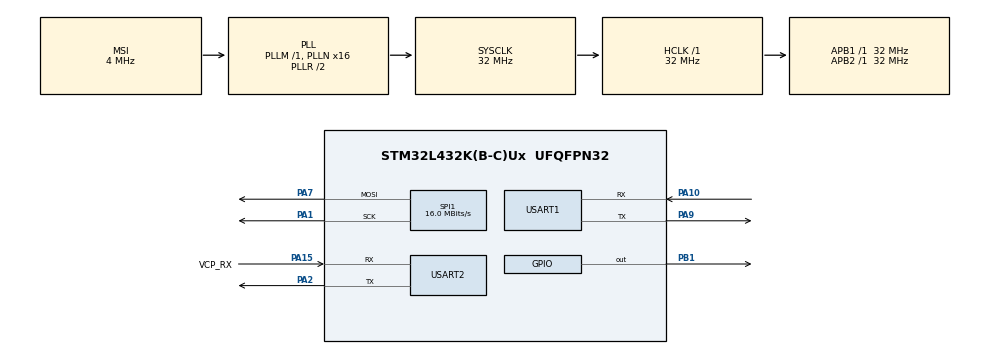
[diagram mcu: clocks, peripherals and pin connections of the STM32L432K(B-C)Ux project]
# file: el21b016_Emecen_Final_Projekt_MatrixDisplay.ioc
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FREERTOS.Queues01=uartQueue,16,int,0,Dynamic,NULL,NULL
FREERTOS.Tasks01=showNumber,24,128,showNumberStart,Default,NULL,Dynamic,NULL,NULL;receiveUART_tsk,25,128,receiveUARTstart,Default,NULL,Dynamic,NULL,NULL
FREERTOS.configUSE_NEWLIB_REENTRANT=1
Mcu.Family=STM32L4
Mcu.Name=STM32L432K(B-C)Ux
Mcu.Package=UFQFPN32
NVIC.PriorityGroup=NVIC_PRIORITYGROUP_4
NVIC.TIM6_DAC_IRQn=true\:15\:0\:false\:false\:true\:false\:false\:true\:true
NVIC.TimeBase=TIM6_DAC_IRQn
NVIC.TimeBaseIP=TIM6
NVIC.USART1_IRQn=true\:5\:0\:false\:false\:true\:true\:true\:true\:true
PA0.GPIO_Label=MCO [High speed clock in]
PA0.Mode=HSE-External-Clock-Source-for-LittleOrca
PA0.Signal=RCC_CK_IN
PA1.Mode=TX_Only_Simplex_Unidirect_Master
PA1.Signal=SPI1_SCK
PA10.Mode=Asynchronous
PA10.Signal=USART1_RX
PA13\ (JTMS-SWDIO).GPIO_Label=SWDIO
PA13\ (JTMS-SWDIO).Mode=Serial_Wire
PA13\ (JTMS-SWDIO).Signal=SYS_JTMS-SWDIO
PA14\ (JTCK-SWCLK).GPIO_Label=SWCLK
PA14\ (JTCK-SWCLK).Mode=Serial_Wire
PA14\ (JTCK-SWCLK).Signal=SYS_JTCK-SWCLK
PA15\ (JTDI).GPIO_Label=VCP_RX
PA15\ (JTDI).Mode=Asynchronous
PA15\ (JTDI).Signal=USART2_RX
PA2.Mode=Asynchronous
PA2.Signal=USART2_TX
PA7.Mode=TX_Only_Simplex_Unidirect_Master
PA7.Signal=SPI1_MOSI
PA9.Mode=Asynchronous
PA9.Signal=USART1_TX
PB1.Signal=GPIO_Output
PC14-OSC32_IN\ (PC14).Mode=LSE-External-Oscillator
PC14-OSC32_IN\ (PC14).Signal=RCC_OSC32_IN
PC15-OSC32_OUT\ (PC15).Mode=LSE-External-Oscillator
PC15-OSC32_OUT\ (PC15).Signal=RCC_OSC32_OUT
ProjectManager.HeapSize=0x200
ProjectManager.StackSize=0x400
ProjectManager.TargetToolchain=STM32CubeIDE
RCC.AHBFreq_Value=32000000
RCC.APB1Freq_Value=32000000
RCC.APB1TimFreq_Value=32000000
RCC.APB2Freq_Value=32000000
RCC.APB2TimFreq_Value=32000000
RCC.CortexFreq_Value=32000000
RCC.HCLKFreq_Value=32000000
RCC.HSE_VALUE=8000000
RCC.HSI16_VALUE=16000000
RCC.HSI48_VALUE=48000000
RCC.HSI_VALUE=16000000
RCC.MSI_VALUE=4000000
RCC.PLLMUL=RCC_PLLMUL_4
RCC.PLLN=16
RCC.SYSCLKFreq_VALUE=32000000
RCC.SYSCLKSource=RCC_SYSCLKSOURCE_PLLCLK
RCC.VCOOutputFreq_Value=64000000
SPI1.CalculateBaudRate=16.0 MBits/s
SPI1.DataSize=SPI_DATASIZE_8BIT
SPI1.Direction=SPI_DIRECTION_2LINES
SPI1.Mode=SPI_MODE_MASTER
SPI1.VirtualType=VM_MASTER
USART1.VirtualMode-Asynchronous=VM_ASYNC
USART2.VirtualMode-Asynchronous=VM_ASYNC
VP_FREERTOS_VS_CMSIS_V2.Mode=CMSIS_V2
VP_SYS_VS_tim6.Mode=TIM6
board=NUCLEO-L432KC

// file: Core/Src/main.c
/* USER CODE BEGIN Header */
/**
  ******************************************************************************
  * @file           : main.c
  * @brief          : Main program body
  ******************************************************************************
  * @attention
  *
  * Copyright (c) 2023 STMicroelectronics.
  * All rights reserved.
  *
  * This software is licensed under terms that can be found in the LICENSE file
  * in the root directory of this software component.
  * If no LICENSE file comes with this software, it is provided AS-IS.
  *
  ******************************************************************************
  */
/* USER CODE END Header */
#include "main.h"
#include "cmsis_os.h"

/* USER CODE BEGIN Includes */
#include "LED_Controller.h"
#include "string.h"
#include "uart_send_app.h"
#include "conversions.h"
#include "uart_read_app.h"
#include "stdio.h"
/* USER CODE END Includes */

/* USER CODE BEGIN PD */
#define MAX_BUFFER_SIZE 100
/* USER CODE END PD */

SPI_HandleTypeDef hspi1;

UART_HandleTypeDef huart1;
UART_HandleTypeDef huart2;

/* Definitions for showNumber */
osThreadId_t showNumberHandle;
const osThreadAttr_t showNumber_attributes = {
  .name = "showNumber",
  .stack_size = 128 * 4,
  .priority = (osPriority_t) osPriorityNormal,
};
/* Definitions for receiveUART_tsk */
osThreadId_t receiveUART_tskHandle;
const osThreadAttr_t receiveUART_tsk_attributes = {
  .name = "receiveUART_tsk",
  .stack_size = 128 * 4,
  .priority = (osPriority_t) osPriorityNormal1,
};
/* Definitions for uartQueue */
osMessageQueueId_t uartQueueHandle;
const osMessageQueueAttr_t uartQueue_attributes = {
  .name = "uartQueue"
};
/* USER CODE BEGIN PV */

uint8_t rx_buffer[MAX_BUFFER_SIZE] = {0};
uint8_t tx_buffer[MAX_BUFFER_SIZE] = {0};
uint8_t cmd[4] ="AT\r\n";
uint8_t buffer[MAX_BUFFER_SIZE] = {0}; //da kann ich auslesen!

char rx_buffer_2[20];

uint8_t tx_data[2];

/* USER CODE END PV */

void SystemClock_Config(void);
static void MX_GPIO_Init(void);
static void MX_USART1_UART_Init(void);
static void MX_SPI1_Init(void);
static void MX_USART2_UART_Init(void);
void showNumberStart(void *argument);
void receiveUARTstart(void *argument);

int main(void)
{
  /* USER CODE BEGIN 1 */
  //set_led (7,128);
  /* USER CODE END 1 */

  /* MCU Configuration--------------------------------------------------------*/

  /* Reset of all peripherals, Initializes the Flash interface and the Systick. */
  HAL_Init();

  /* Configure the system clock */
  SystemClock_Config();

  /* Initialize all configured peripherals */
  MX_GPIO_Init();
  MX_USART1_UART_Init();
  MX_SPI1_Init();
  MX_USART2_UART_Init();
  /* USER CODE BEGIN 2 */

  //set_modes_from_datasheet_MATRIX();
  set_modes_from_datasheet_MATRIX();

  //set_degree_symbol();

  for (int i = 1; i <= 8; i++)
  	{
	  	  tx_data[0] = i;
	 	  tx_data[1] = 0x00;

	  HAL_GPIO_WritePin(GPIOA, GPIO_PIN_7, 0);
	  HAL_GPIO_WritePin(GPIOB, GPIO_PIN_1, 0);
	  HAL_Delay(1);

	  HAL_SPI_Transmit(&hspi1, tx_data, 2, 2);

	  HAL_GPIO_WritePin(GPIOB, GPIO_PIN_1, 1);
	  HAL_GPIO_WritePin(GPIOA, GPIO_PIN_7, 1);
  	}

  /* USER CODE END 2 */

  /* Init scheduler */
  osKernelInitialize();

  /* Create the queue(s) */
  /* creation of uartQueue */
  uartQueueHandle = osMessageQueueNew (32, sizeof(int), &uartQueue_attributes);

  /* Create the thread(s) */
  /* creation of showNumber */
  showNumberHandle = osThreadNew(showNumberStart, NULL, &showNumber_attributes);

  /* creation of receiveUART_tsk */
  receiveUART_tskHandle = osThreadNew(receiveUARTstart, NULL, &receiveUART_tsk_attributes);

  /* Start scheduler */
  osKernelStart();

  /* We should never get here as control is now taken by the scheduler */
  /* Infinite loop */
  while (1)
  {

  }
}

void SystemClock_Config(void)
{
  RCC_OscInitTypeDef RCC_OscInitStruct = {0};
  RCC_ClkInitTypeDef RCC_ClkInitStruct = {0};

  /** Configure the main internal regulator output voltage
  */
  if (HAL_PWREx_ControlVoltageScaling(PWR_REGULATOR_VOLTAGE_SCALE1) != HAL_OK)
  {
    Error_Handler();
  }

  /** Configure LSE Drive Capability
  */
  HAL_PWR_EnableBkUpAccess();
  __HAL_RCC_LSEDRIVE_CONFIG(RCC_LSEDRIVE_LOW);

  /** Initializes the RCC Oscillators according to the specified parameters
  * in the RCC_OscInitTypeDef structure.
  */
  RCC_OscInitStruct.OscillatorType = RCC_OSCILLATORTYPE_LSE|RCC_OSCILLATORTYPE_MSI;
  RCC_OscInitStruct.LSEState = RCC_LSE_ON;
  RCC_OscInitStruct.MSIState = RCC_MSI_ON;
  RCC_OscInitStruct.MSICalibrationValue = 0;
  RCC_OscInitStruct.MSIClockRange = RCC_MSIRANGE_6;
  RCC_OscInitStruct.PLL.PLLState = RCC_PLL_ON;
  RCC_OscInitStruct.PLL.PLLSource = RCC_PLLSOURCE_MSI;
  RCC_OscInitStruct.PLL.PLLM = 1;
  RCC_OscInitStruct.PLL.PLLN = 16;
  RCC_OscInitStruct.PLL.PLLP = RCC_PLLP_DIV7;
  RCC_OscInitStruct.PLL.PLLQ = RCC_PLLQ_DIV2;
  RCC_OscInitStruct.PLL.PLLR = RCC_PLLR_DIV2;
  if (HAL_RCC_OscConfig(&RCC_OscInitStruct) != HAL_OK)
  {
    Error_Handler();
  }

  /** Initializes the CPU, AHB and APB buses clocks
  */
  RCC_ClkInitStruct.ClockType = RCC_CLOCKTYPE_HCLK|RCC_CLOCKTYPE_SYSCLK
                              |RCC_CLOCKTYPE_PCLK1|RCC_CLOCKTYPE_PCLK2;
  RCC_ClkInitStruct.SYSCLKSource = RCC_SYSCLKSOURCE_PLLCLK;
  RCC_ClkInitStruct.AHBCLKDivider = RCC_SYSCLK_DIV1;
  RCC_ClkInitStruct.APB1CLKDivider = RCC_HCLK_DIV1;
  RCC_ClkInitStruct.APB2CLKDivider = RCC_HCLK_DIV1;

  if (HAL_RCC_ClockConfig(&RCC_ClkInitStruct, FLASH_LATENCY_1) != HAL_OK)
  {
    Error_Handler();
  }

  /** Enable MSI Auto calibration
  */
  HAL_RCCEx_EnableMSIPLLMode();
}

static void MX_SPI1_Init(void)
{

  /* SPI1 parameter configuration*/
  hspi1.Instance = SPI1;
  hspi1.Init.Mode = SPI_MODE_MASTER;
  hspi1.Init.Direction = SPI_DIRECTION_2LINES;
  hspi1.Init.DataSize = SPI_DATASIZE_8BIT;
  hspi1.Init.CLKPolarity = SPI_POLARITY_LOW;
  hspi1.Init.CLKPhase = SPI_PHASE_1EDGE;
  hspi1.Init.NSS = SPI_NSS_SOFT;
  hspi1.Init.BaudRatePrescaler = SPI_BAUDRATEPRESCALER_2;
  hspi1.Init.FirstBit = SPI_FIRSTBIT_MSB;
  hspi1.Init.TIMode = SPI_TIMODE_DISABLE;
  hspi1.Init.CRCCalculation = SPI_CRCCALCULATION_DISABLE;
  hspi1.Init.CRCPolynomial = 7;
  hspi1.Init.CRCLength = SPI_CRC_LENGTH_DATASIZE;
  hspi1.Init.NSSPMode = SPI_NSS_PULSE_ENABLE;
  if (HAL_SPI_Init(&hspi1) != HAL_OK)
  {
    Error_Handler();
  }

}

static void MX_USART1_UART_Init(void)
{

  huart1.Instance = USART1;
  huart1.Init.BaudRate = 115200;
  huart1.Init.WordLength = UART_WORDLENGTH_8B;
  huart1.Init.StopBits = UART_STOPBITS_1;
  huart1.Init.Parity = UART_PARITY_NONE;
  huart1.Init.Mode = UART_MODE_TX_RX;
  huart1.Init.HwFlowCtl = UART_HWCONTROL_NONE;
  huart1.Init.OverSampling = UART_OVERSAMPLING_16;
  huart1.Init.OneBitSampling = UART_ONE_BIT_SAMPLE_DISABLE;
  huart1.AdvancedInit.AdvFeatureInit = UART_ADVFEATURE_NO_INIT;
  if (HAL_UART_Init(&huart1) != HAL_OK)
  {
    Error_Handler();
  }

}

static void MX_USART2_UART_Init(void)
{

  huart2.Instance = USART2;
  huart2.Init.BaudRate = 115200;
  huart2.Init.WordLength = UART_WORDLENGTH_8B;
  huart2.Init.StopBits = UART_STOPBITS_1;
  huart2.Init.Parity = UART_PARITY_NONE;
  huart2.Init.Mode = UART_MODE_TX_RX;
  huart2.Init.HwFlowCtl = UART_HWCONTROL_NONE;
  huart2.Init.OverSampling = UART_OVERSAMPLING_16;
  huart2.Init.OneBitSampling = UART_ONE_BIT_SAMPLE_DISABLE;
  huart2.AdvancedInit.AdvFeatureInit = UART_ADVFEATURE_NO_INIT;
  if (HAL_UART_Init(&huart2) != HAL_OK)
  {
    Error_Handler();
  }

}

static void MX_GPIO_Init(void)
{
  GPIO_InitTypeDef GPIO_InitStruct = {0};

  /* GPIO Ports Clock Enable */
  __HAL_RCC_GPIOC_CLK_ENABLE();
  __HAL_RCC_GPIOA_CLK_ENABLE();
  __HAL_RCC_GPIOB_CLK_ENABLE();

  /*Configure GPIO pin Output Level */
  HAL_GPIO_WritePin(GPIOB, GPIO_PIN_1, GPIO_PIN_RESET);

  /*Configure GPIO pin : PB1 */
  GPIO_InitStruct.Pin = GPIO_PIN_1;
  GPIO_InitStruct.Mode = GPIO_MODE_OUTPUT_PP;
  GPIO_InitStruct.Pull = GPIO_NOPULL;
  GPIO_InitStruct.Speed = GPIO_SPEED_FREQ_LOW;
  HAL_GPIO_Init(GPIOB, &GPIO_InitStruct);

}

void showNumberStart(void *argument)
{
  /* USER CODE BEGIN 5 */
  /* Infinite loop */
  for(;;)
  {
	int num;
	osMessageQueueGet(uartQueueHandle, &num, NULL, osWaitForever);
    set_number(num/10, num%10);
    set_led(7, 128);

    char str[20];
    sprintf(str, "%d", num);
    transmit_string(&huart2, str);

    osDelay(10);
  }
  /* USER CODE END 5 */
}

void receiveUARTstart(void *argument)
{
  /* USER CODE BEGIN receiveUARTstart */
  /* Infinite loop */
  for(;;)
  {
	int num;
	num = read_data(&huart1);

	osMessageQueuePut(uartQueueHandle, &num, 0, osWaitForever);

    osDelay(100);
  }
  /* USER CODE END receiveUARTstart */
}

void HAL_TIM_PeriodElapsedCallback(TIM_HandleTypeDef *htim)
{
  if (htim->Instance == TIM6) {
    HAL_IncTick();
  }
}

void Error_Handler(void)
{
  __disable_irq();
  while (1)
  {
  }
}
